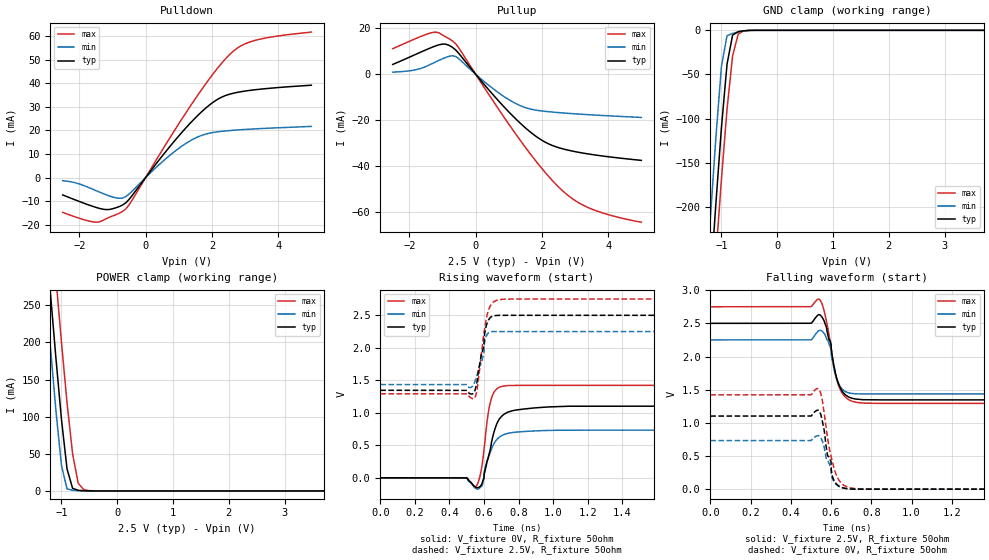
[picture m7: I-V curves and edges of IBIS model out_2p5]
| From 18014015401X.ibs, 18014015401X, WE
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[Model]   out_2p5
Model_type   3-state
Polarity   Non-Inverting
Vmeas = 1.25
Vref = 0
Cref = 15pF
Rref = 50
|   typ   min   max
|   (nom PVT)   (fast PVT)   (slow PVT)
C_comp   1.027e-12   9.377e-13   1.105e-12
| Where nom  PVT is Nominal Process, 2.5V, 27C
|   Fast PVT is Strong Process,  2.75V, -55C
|   Slow PVT is Weak Process,   2.25V, 150C
[Voltage Range]   2.5   2.25   2.75
|Ambient Temperature   25   125   -55
|Junction Temperature
[Temperature Range]   27   150   -55
[Pullup Reference]   2.5   2.25   2.75
[Pulldown Reference]   0   0   0
[Power Clamp Reference]   2.5   2.25   2.75
[GND Clamp Reference]   0   0   0
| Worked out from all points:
|   slope of the pulldown table from 0 to 0.375 V, typ, clamps not added: 54.4 ohm
|   slope of the pullup table from 0 to 0.375 V, typ, clamps not added: 58.2 ohm
|   GND clamp passes 1 mA (typ) near -0.65 V on its own axis
|   POWER clamp passes 1 mA (typ) near -0.70 V on its own axis
|   falling waveform, V_fixture 2.5V, R_fixture 50ohm: 20-80 % time 50.4ps typ, 36.5ps min, 52.8ps max; typ from 2.5 V to 1.35 V
|   rising waveform, V_fixture 0V, R_fixture 50ohm: 20-80 % time 68.3ps typ, 67.8ps min, 41.1ps max; typ from 0 V to 1.1 V
|   rising waveform, V_fixture 2.5V, R_fixture 50ohm: 20-80 % time 42.3ps typ, 42ps min, 43.2ps max; typ from 1.35 V to 2.5 V
|   falling waveform, V_fixture 0V, R_fixture 50ohm: 20-80 % time 38.5ps typ, 39.6ps min, 51ps max; typ from 1.1 V to 0 V
[Pulldown]
-2.5V     -7.33mA    -1.31mA    -14.74mA
-1.5V     -12.6mA    -5.48mA    -18.89mA
-1.1V     -13.51mA   -7.724mA   -16.83mA
-700mV    -11.66mA   -8.648mA   -14.37mA
-500mV    -9.268mA   -6.994mA   -11.62mA
500mV     9.133mA    6.664mA    11.61mA
1.3V      22.39mA    15.23mA    29.28mA
2V        31.59mA    19.05mA    43.32mA
2.6V      35.63mA    20.04mA    53.05mA
2.9V      36.49mA    20.35mA    56.06mA
3.3V      37.27mA    20.68mA    58.19mA
5V        39.18mA    21.72mA    61.72mA
[GND Clamp]
-2.5V     -1.592A    -1.541A    -1.627A
-1.3V     -384.9mA   -311.3mA   -441.9mA
-1.2V     -289.3mA   -214.6mA   -347.9mA
-1.1V     -196.8mA   -121.8mA   -256.3mA
-1V       -110.3mA   -40.91mA   -168.9mA
-900mV    -38.4mA    -6.152mA   -89.52mA
-800mV    -5.474mA   -3.481mA   -29.01mA
-700mV    -1.531mA   -1.907mA   -4.308mA
-600mV    -532.3uA   -643.3uA   -627.8uA
5V        0A         0A         0A
[Pullup]
-2.5V     4.22mA     870uA      11.08mA
-1.8V     8.65mA     1.92mA     15.52mA
-1.3V     11.77mA    4.66mA     18.15mA
-1V       13.09mA    6.68mA     17.07mA
-700mV    11.71mA    8.009mA    14.51mA
-500mV    8.909mA    6.64mA     11.3mA
500mV     -8.529mA   -6.028mA   -11.09mA
1.2V      -19.33mA   -12.71mA   -25.85mA
1.9V      -27.88mA   -15.86mA   -39.33mA
2.5V      -32mA      -16.76mA   -49.1mA
3.4V      -34.76mA   -17.66mA   -58.14mA
5V        -37.56mA   -18.86mA   -64.49mA
[POWER Clamp]
-2.5V     1.519A     1.446A     1.631A
-1.3V     360.6mA    287.4mA    471.3mA
-1.2V     268.7mA    196.1mA    378.8mA
-1.1V     179.8mA    109.1mA    288.2mA
-1V       96.75mA    34.37mA    200.6mA
-900mV    29.7mA     2.806mA    119mA
-800mV    3.469mA    867.1uA    49.89mA
-700mV    903.7uA    216.1uA    10.29mA
-600mV    209.8uA    10.82uA    1.666mA
-300mV    16.96nA    20.5pA     4.023uA
5V        0A         0A         0A
[Ramp]
R_load = 50
|   typ   min   max
dV/dt_r   0.6613/0.5425e-10   0.4396/0.8357e-10   0.8531/0.4106e-10
dV/dt_f   0.692/0.6091e-10   0.4892/0.8614e-10   0.874/0.5282e-10
[Falling Waveform]
V_fixture = 2.5V
V_fixture_min = 2.25V
V_fixture_max = 2.75V
R_fixture = 50ohm
C_fixture = 0F
0s        2.5V       2.25V      2.75V
500.4ps   2.5V       2.25V      2.75V
542.7ps   2.63V      2.394V     2.861V
566.6ps   2.531V     2.346V     2.676V
587.7ps   2.275V     2.22V      2.369V
600ps     2.189V     2.107V     2.134V
613.9ps   1.866V     1.821V     1.847V
635.5ps   1.602V     1.606V     1.58V
714.6ps   1.363V     1.439V     1.317V
2ns       1.346V     1.435V     1.293V
[Rising Waveform]
V_fixture = 0V
V_fixture_min = 0V
V_fixture_max = 0V
R_fixture = 50ohm
C_fixture = 0F
0s        1.739nV    5.364nV    1.642nV
500ps     1.739nV    5.364nV    1.642nV
553.7ps   -148.7mV   -167.6mV   -131.4mV
585.8ps   -102.8mV   -126.3mV   143.4mV
618.3ps   262.9mV    257.4mV    876.7mV
636.2ps   430.7mV    391.8mV    1.155V
663.2ps   750.2mV    549.4mV    1.336V
699.8ps   940mV      644.9mV    1.404V
1.011ns   1.095V     730.8mV    1.422V
2ns       1.102V     732.6mV    1.422V
[Rising Waveform]
V_fixture = 2.5V
V_fixture_min = 2.25V
V_fixture_max = 2.75V
R_fixture = 50ohm
C_fixture = 0F
0s        1.346V     1.435V     1.293V
542.5ps   1.312V     1.447V     1.219V
561ps     1.506V     1.592V     1.376V
593.5ps   1.971V     1.851V     2.106V
599.9ps   2.028V     1.929V     2.222V
604ps     2.221V     2.093V     2.296V
616.4ps   2.367V     2.198V     2.486V
641.4ps   2.476V     2.248V     2.666V
673.8ps   2.498V     2.25V      2.731V
2ns       2.5V       2.25V      2.75V
[Falling Waveform]
V_fixture = 0V
V_fixture_min = 0V
V_fixture_max = 0V
R_fixture = 50ohm
C_fixture = 0F
0s        1.102V     732.6mV    1.422V
537.7ps   1.188V     806.5mV    1.512V
555ps     1.056V     740.7mV    1.364V
583ps     503.4mV    434.4mV    764.6mV
599.8ps   415.7mV    328.8mV    497.5mV
601.1ps   297.4mV    238.8mV    480.5mV
609.1ps   170.8mV    142.1mV    374.8mV
641.3ps   42.8mV     39.77mV    127mV
692.3ps   3.134mV    4.834mV    22.11mV
2ns       -140.9nV   -160.7nV   -279.5nV
